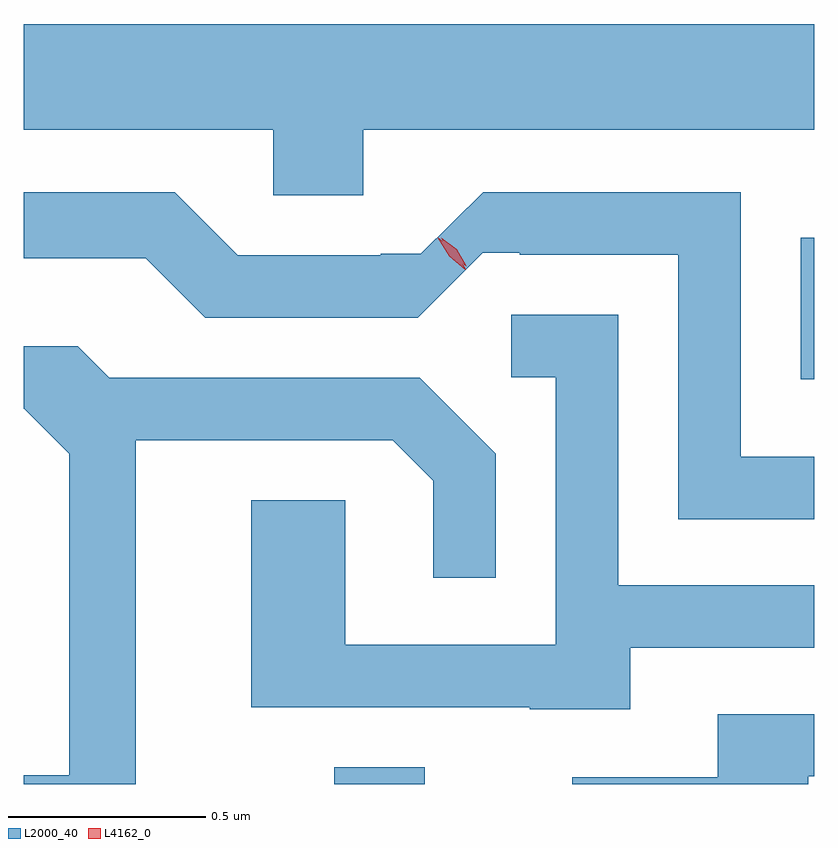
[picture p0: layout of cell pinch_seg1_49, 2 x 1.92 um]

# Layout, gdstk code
import gdstk
lib = gdstk.Library(unit=1e-6, precision=1e-09)
def R(c, l, rs):  # rectangles x0, y0, x1, y1
    for r in rs: c.add(gdstk.rectangle(r[:2], r[2:], *l))
def P(c, l, *ps):  # polygons
    for p in ps: c.add(gdstk.Polygon(p, *l))
L2000_40 = (2000, 40)
L4162_0 = (4162, 0)

pinch_seg1_49 = lib.new_cell('pinch_seg1_49')
R(pinch_seg1_49, L2000_40, [(1099.561,922.342,1099.789,922.384), (1100.741,923.366,1100.775,923.723)])
P(pinch_seg1_49, L2000_40, [(1099.634,923.996),(1100.775,923.996),(1100.775,924.264),(1098.775,924.264),(1098.775,923.996),(1099.406,923.996),(1099.406,923.831),(1099.634,923.831)],
  [(1100.775,923.169),(1100.589,923.169),(1100.589,923.839),(1099.937,923.839),(1099.78,923.683),(1099.678,923.683),(1099.678,923.679),(1099.317,923.679),(1099.157,923.839),(1098.775,923.839),(1098.775,923.671),(1099.084,923.671),(1099.234,923.521),(1099.772,923.521),(1099.936,923.685),(1100.03,923.685),(1100.03,923.681),(1100.431,923.681),(1100.431,923.011),(1100.775,923.011)],
  [(1100.309,922.686),(1100.775,922.686),(1100.775,922.844),(1100.279,922.844),(1100.279,923.529),(1100.008,923.529),(1100.008,923.371),(1100.121,923.371),(1100.121,922.694),(1099.589,922.694),(1099.589,923.059),(1099.351,923.059),(1099.351,922.536),(1100.055,922.536),(1100.055,922.531),(1100.309,922.531)],
  [(1099.059,923.211),(1099.709,923.211),(1099.811,923.109),(1099.811,922.863),(1099.969,922.863),(1099.969,923.177),(1099.777,923.369),(1098.992,923.369),(1098.912,923.449),(1098.775,923.449),(1098.775,923.291),(1098.777,923.291),(1098.891,923.177),(1098.891,922.364),(1098.775,922.364),(1098.775,922.342),(1099.059,922.342)],
  [(1100.759,922.361),(1100.775,922.361),(1100.775,922.519),(1100.531,922.519),(1100.531,922.359),(1100.163,922.359),(1100.163,922.342),(1100.759,922.342)])
P(pinch_seg1_49, L4162_0, [(1099.892,923.643),(1099.851,923.677),(1099.823,923.724),(1099.823,923.724),(1099.824,923.724),(1099.866,923.69),(1099.893,923.644),(1099.893,923.643)],
  [(1099.894,923.651),(1099.855,923.681),(1099.831,923.724),(1099.831,923.724),(1099.831,923.724),(1099.87,923.694),(1099.895,923.652),(1099.895,923.651)])

lib.write_gds('pinch_seg1_49.gds')
